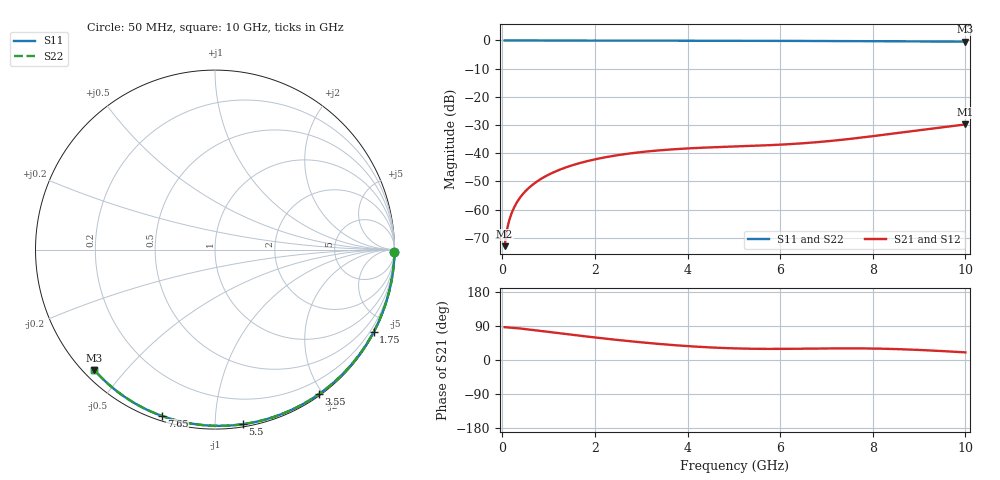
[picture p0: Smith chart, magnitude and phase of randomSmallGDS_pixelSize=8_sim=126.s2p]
! freq	dB(S11)	phase(S11)	dB(S12)	phase(S12)
!  dB(S21)	phase(S21)	dB(S22)	phase(S22)
!S-par simulation data
#  GHz  S  DB  R 50
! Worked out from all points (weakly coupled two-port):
!   200 points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, 50 MHz to 10 GHz, reference 50 ohm
!   highest |S21| = -29.81 dB at 10 GHz (marker M1); lowest = -73.0 dB at 50 MHz (marker M2)
!   lowest |S11| = -0.4 dB at 10 GHz (marker M3), VSWR 38.85, Z = 1.51 - j20.7 ohm
!   |S11| at or under -10 dB: nowhere
!   |S22| runs from -0.4 to 0.0 dB; largest |S21 - S12| = 0
!   S11 on the Smith chart (normalised r, x): 50 MHz: open; 1.75 GHz: 0.04, -4.10; 3.55 GHz: 0.02, -1.95; 5.5 GHz: 0.02, -1.17; 7.65 GHz: 0.02, -0.73; 10 GHz: 0.03, -0.41
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0.05  -0.00 -0.8  -73.00 86.7  -73.00 86.7  -0.00 -0.8
0.1  -0.00 -1.6  -67.23 86.2  -67.23 86.2  -0.00 -1.6
0.15  -0.00 -2.4  -63.81 85.9  -63.81 85.9  -0.00 -2.4
0.2  -0.00 -3.2  -61.36 85.5  -61.36 85.5  -0.00 -3.2
0.25  -0.00 -4.0  -59.44 84.9  -59.44 84.9  -0.00 -4.0
0.35  -0.00 -5.6  -56.55 83.7  -56.55 83.7  -0.00 -5.6
0.5  -0.01 -7.9  -53.49 81.6  -53.49 81.6  -0.01 -7.9
0.7  -0.01 -11.1  -50.62 78.6  -50.62 78.6  -0.01 -11.1
1  -0.02 -15.8  -47.63 74.1  -47.63 74.1  -0.02 -15.8
1.35  -0.03 -21.2  -45.18 68.9  -45.18 68.9  -0.03 -21.2
1.75  -0.04 -27.4  -43.18 63.0  -43.18 63.0  -0.04 -27.4
2.5  -0.05 -38.8  -40.69 52.8  -40.69 52.8  -0.05 -38.8
3.4  -0.07 -52.0  -38.99 42.2  -38.99 42.2  -0.07 -52.0
3.55  -0.07 -54.2  -38.79 40.7  -38.79 40.7  -0.07 -54.2
4.3  -0.09 -64.8  -38.07 34.4  -38.07 34.4  -0.09 -64.8
5.05  -0.11 -75.0  -37.61 30.6  -37.61 30.6  -0.11 -75.0
5.5  -0.13 -81.0  -37.35 29.5  -37.35 29.5  -0.13 -81.0
6.7  -0.18 -96.3  -36.23 30.1  -36.23 30.1  -0.18 -96.3
7.65  -0.24 -107.8  -34.66 30.7  -34.66 30.7  -0.24 -107.8
8.35  -0.29 -116.1  -33.24 29.4  -33.24 29.4  -0.29 -116.1
9.2  -0.37 -125.9  -31.44 25.4  -31.44 25.4  -0.37 -125.9
10  -0.45 -135.0  -29.81 20.1  -29.81 20.1  -0.45 -135.0
